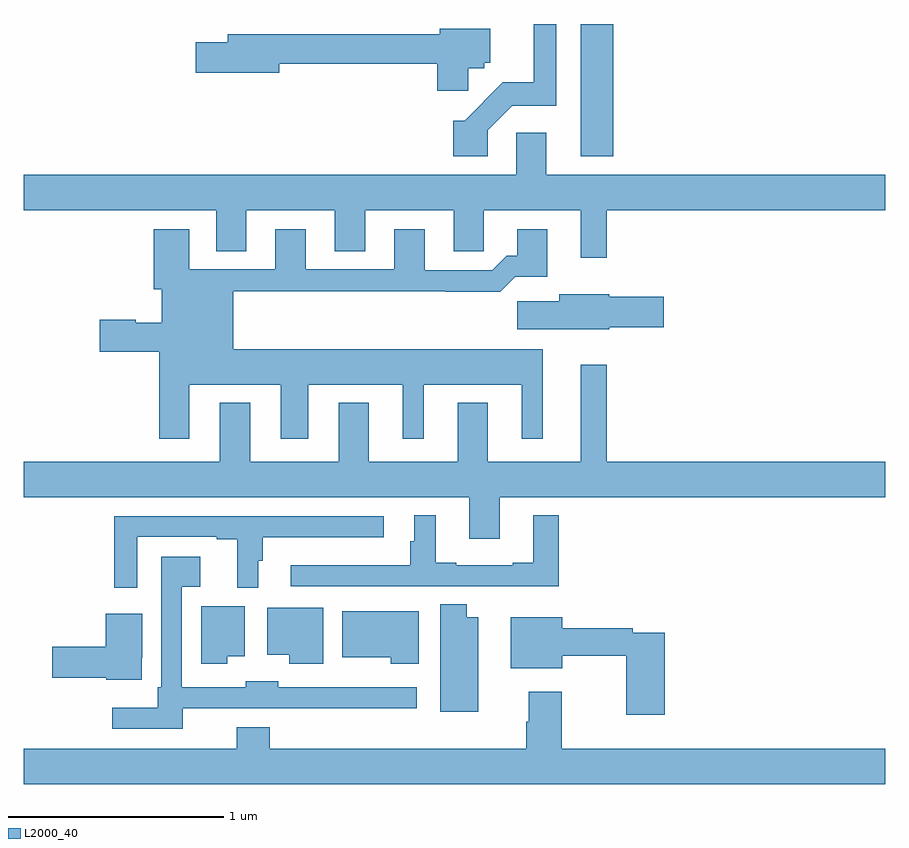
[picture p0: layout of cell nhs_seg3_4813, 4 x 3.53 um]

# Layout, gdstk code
import gdstk
lib = gdstk.Library(unit=1e-6, precision=1e-09)
def R(c, l, rs):  # rectangles x0, y0, x1, y1
    for r in rs: c.add(gdstk.rectangle(r[:2], r[2:], *l))
def P(c, l, *ps):  # polygons
    for p in ps: c.add(gdstk.Polygon(p, *l))
L2000_40 = (2000, 40)

nhs_seg3_4813 = lib.new_cell('nhs_seg3_4813')
R(nhs_seg3_4813, L2000_40, [(371.585,747.785,371.738,748.4)])
P(nhs_seg3_4813, L2000_40, [(371.154,747.906),(371.268,748.02),(371.473,748.02),(371.473,748.4),(371.369,748.4),(371.369,748.13),(371.225,748.13),(371.047,747.952),(370.994,747.952),(370.994,747.786),(371.154,747.786)],
  [(371.063,748.194),(371.139,748.194),(371.139,748.221),(371.167,748.221),(371.167,748.378),(370.931,748.378),(370.931,748.352),(369.947,748.352),(369.947,748.316),(369.798,748.316),(369.798,748.174),(370.186,748.174),(370.186,748.216),(370.919,748.216),(370.919,748.089),(371.063,748.089)],
  [(371.707,747.536),(373,747.536),(373,747.7),(371.425,747.7),(371.425,747.895),(371.286,747.895),(371.286,747.7),(369,747.7),(369,747.536),(369.893,747.536),(369.893,747.346),(370.033,747.346),(370.033,747.536),(370.445,747.536),(370.445,747.346),(370.585,747.346),(370.585,747.536),(370.997,747.536),(370.997,747.346),(371.136,747.346),(371.136,747.536),(371.585,747.536),(371.585,747.315),(371.707,747.315)],
  [(369.769,746.726),(370.193,746.726),(370.193,746.475),(370.321,746.475),(370.321,746.726),(370.76,746.726),(370.76,746.475),(370.858,746.475),(370.858,746.726),(371.312,746.726),(371.312,746.475),(371.41,746.475),(371.41,746.89),(369.973,746.89),(369.973,747.16),(370.957,747.16),(370.957,747.158),(371.213,747.158),(371.282,747.227),(371.431,747.227),(371.431,747.448),(371.291,747.448),(371.291,747.325),(371.242,747.325),(371.175,747.258),(370.861,747.258),(370.861,747.448),(370.721,747.448),(370.721,747.261),(370.309,747.261),(370.309,747.448),(370.169,747.448),(370.169,747.261),(369.769,747.261),(369.769,747.448),(369.605,747.448),(369.605,747.168),(369.641,747.168),(369.641,747.013),(369.521,747.013),(369.521,747.026),(369.354,747.026),(369.354,746.879),(369.629,746.879),(369.629,746.475),(369.769,746.475)],
  [(371.718,746.993),(371.971,746.993),(371.971,747.135),(371.718,747.135),(371.718,747.145),(371.486,747.145),(371.486,747.113),(371.292,747.113),(371.292,746.984),(371.718,746.984)],
  [(371.209,746.204),(373,746.204),(373,746.368),(371.707,746.368),(371.707,746.818),(371.585,746.818),(371.585,746.368),(371.155,746.368),(371.155,746.641),(371.015,746.641),(371.015,746.368),(370.603,746.368),(370.603,746.641),(370.463,746.641),(370.463,746.368),(370.051,746.368),(370.051,746.641),(369.911,746.641),(369.911,746.368),(369,746.368),(369,746.204),(371.069,746.204),(371.069,746.01),(371.209,746.01)],
  [(371.483,746.119),(371.366,746.119),(371.366,745.9),(371.27,745.9),(371.27,745.887),(371.008,745.887),(371.008,745.9),(370.912,745.9),(370.912,746.119),(370.814,746.119),(370.814,745.998),(370.795,745.998),(370.795,745.888),(370.239,745.888),(370.239,745.791),(371.152,745.791),(371.152,745.79),(371.483,745.79)],
  [(369.528,746.019),(369.896,746.019),(369.896,746.007),(369.992,746.007),(369.992,745.782),(370.09,745.782),(370.09,745.908),(370.109,745.908),(370.109,746.018),(370.672,746.018),(370.672,746.115),(369.42,746.115),(369.42,745.782),(369.528,745.782)],
  [(369.738,745.223),(370.825,745.223),(370.825,745.321),(370.486,745.321),(370.486,745.32),(370.182,745.32),(370.182,745.348),(370.032,745.348),(370.032,745.32),(369.735,745.32),(369.735,745.787),(369.82,745.787),(369.82,745.927),(369.639,745.927),(369.639,745.321),(369.623,745.321),(369.623,745.225),(369.411,745.225),(369.411,745.128),(369.738,745.128)],
  [(371.11,745.645),(371.056,745.645),(371.056,745.706),(370.934,745.706),(370.934,745.208),(371.11,745.208)],
  [(369.946,745.466),(370.027,745.466),(370.027,745.696),(369.824,745.696),(369.824,745.43),(369.946,745.43)],
  [(370.39,745.69),(370.13,745.69),(370.13,745.472),(370.233,745.472),(370.233,745.43),(370.39,745.43)],
  [(370.834,745.675),(370.478,745.675),(370.478,745.46),(370.705,745.46),(370.705,745.43),(370.834,745.43)],
  [(369.549,745.459),(369.55,745.459),(369.55,745.663),(369.38,745.663),(369.38,745.508),(369.132,745.508),(369.132,745.366),(369.384,745.366),(369.384,745.356),(369.549,745.356)],
  [(371.975,745.575),(371.828,745.575),(371.828,745.595),(371.5,745.595),(371.5,745.645),(371.261,745.645),(371.261,745.409),(371.5,745.409),(371.5,745.467),(371.797,745.467),(371.797,745.194),(371.975,745.194)],
  [(373,745.036),(371.498,745.036),(371.498,745.3),(371.345,745.3),(371.345,745.16),(371.333,745.16),(371.333,745.036),(370.142,745.036),(370.142,745.135),(369.989,745.135),(369.989,745.036),(369,745.036),(369,744.872),(373,744.872)])

lib.write_gds('nhs_seg3_4813.gds')
